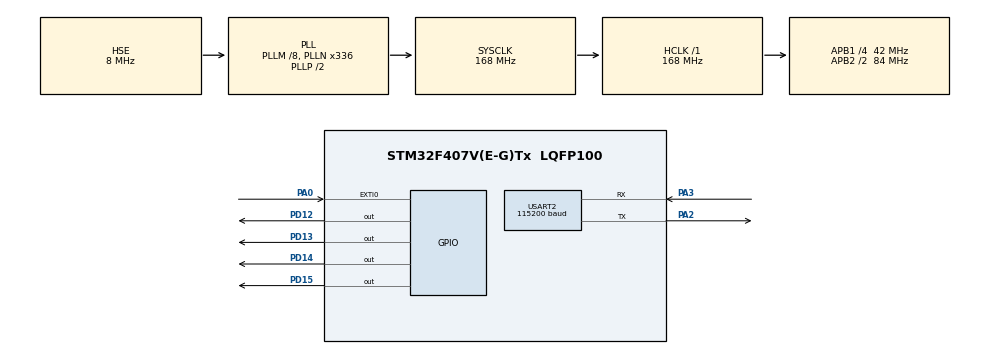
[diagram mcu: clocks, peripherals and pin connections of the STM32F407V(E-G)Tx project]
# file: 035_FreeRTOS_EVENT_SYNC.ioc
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FREERTOS.Tasks01=defaultTask,24,128,StartDefaultTask,Default,NULL,Dynamic,NULL,NULL
FREERTOS.configUSE_NEWLIB_REENTRANT=1
Mcu.Family=STM32F4
Mcu.Name=STM32F407V(E-G)Tx
Mcu.Package=LQFP100
NVIC.EXTI0_IRQn=true\:5\:0\:false\:false\:true\:true\:true\:true\:true
NVIC.PriorityGroup=NVIC_PRIORITYGROUP_4
NVIC.TIM8_TRG_COM_TIM14_IRQn=true\:15\:0\:false\:false\:true\:false\:false\:true\:true
NVIC.TimeBase=TIM8_TRG_COM_TIM14_IRQn
NVIC.TimeBaseIP=TIM14
NVIC.USART2_IRQn=true\:5\:0\:false\:false\:true\:true\:true\:true\:true
PA0-WKUP.Signal=GPXTI0
PA2.Mode=Asynchronous
PA2.Signal=USART2_TX
PA3.Mode=Asynchronous
PA3.Signal=USART2_RX
PD12.Signal=GPIO_Output
PD13.Signal=GPIO_Output
PD14.Signal=GPIO_Output
PD15.Signal=GPIO_Output
PH0-OSC_IN.Mode=HSE-External-Oscillator
PH0-OSC_IN.Signal=RCC_OSC_IN
PH1-OSC_OUT.Mode=HSE-External-Oscillator
PH1-OSC_OUT.Signal=RCC_OSC_OUT
ProjectManager.HeapSize=0x200
ProjectManager.StackSize=0x400
ProjectManager.TargetToolchain=STM32CubeIDE
RCC.48MHZClocksFreq_Value=48000000
RCC.AHBFreq_Value=168000000
RCC.APB1CLKDivider=RCC_HCLK_DIV4
RCC.APB1Freq_Value=42000000
RCC.APB1TimFreq_Value=84000000
RCC.APB2CLKDivider=RCC_HCLK_DIV2
RCC.APB2Freq_Value=84000000
RCC.APB2TimFreq_Value=168000000
RCC.CortexFreq_Value=168000000
RCC.HCLKFreq_Value=168000000
RCC.HSE_VALUE=8000000
RCC.HSI_VALUE=16000000
RCC.LSE_VALUE=32768
RCC.PLLM=8
RCC.PLLN=336
RCC.PLLQ=7
RCC.PLLSourceVirtual=RCC_PLLSOURCE_HSE
RCC.SYSCLKFreq_VALUE=168000000
RCC.SYSCLKSource=RCC_SYSCLKSOURCE_PLLCLK
RCC.VCOOutputFreq_Value=336000000
USART2.BaudRate=115200
USART2.VirtualMode=VM_ASYNC
VP_FREERTOS_VS_CMSIS_V2.Mode=CMSIS_V2
VP_SYS_VS_tim14.Mode=TIM14
board=STM32F407G-DISC1

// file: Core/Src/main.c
/* USER CODE BEGIN Header */
/**
  ******************************************************************************
  * @file           : main.c
  * @brief          : Main program body
  ******************************************************************************
  * @attention
  *
  * Copyright (c) 2023 STMicroelectronics.
  * All rights reserved.
  *
  * This software is licensed under terms that can be found in the LICENSE file
  * in the root directory of this software component.
  * If no LICENSE file comes with this software, it is provided AS-IS.
  *
  ******************************************************************************
  */
/* USER CODE END Header */
#include "main.h"

/* USER CODE BEGIN Includes */
#include "FreeRTOS.h"
#include "task.h"
#include "queue.h"
#include "event_groups.h"
#include <string.h>
#include <stdio.h>
#include <stdlib.h>
/* USER CODE END Includes */

/* USER CODE BEGIN PD */
#define mainFIRST_TASK_BIT		(( 1 << 0 ))
#define mainSECOND_TASK_BIT		(( 1 << 1 ))
#define mainTHIRD_TASK_BIT		(( 1 << 2 ))
/* USER CODE END PD */

UART_HandleTypeDef huart2;

/* Definitions for defaultTask */

/* USER CODE BEGIN PV */
EventGroupHandle_t xEventGroup = NULL;
static const char *taskName[] ={
		"Task 1",
		"Task 2",
		"Task 3",
};
/* USER CODE END PV */

void SystemClock_Config(void);
static void MX_GPIO_Init(void);
static void MX_USART2_UART_Init(void);

/* USER CODE BEGIN 0 */
static void vSyncingTask(void *pvParameters)
{
	const TickType_t xMaxDelay = pdMS_TO_TICKS(4000UL);
	const TickType_t xMinDelay = pdMS_TO_TICKS(2000UL);
	char outputBuffer[100];

	TickType_t xDelayTime;
	EventBits_t uxThisTasksSyncBit;
	//const EventBits_t uxAllSyncBits = (mainFIRST_TASK_BIT | mainSECOND_TASK_BIT | mainTHIRD_TASK_BIT);
	const EventBits_t uxAllSyncBits = 0x07;
	uint8_t taskIndex = 0;
	uxThisTasksSyncBit = (EventBits_t) pvParameters;

	if(uxThisTasksSyncBit == 0x01){taskIndex = 0;}
	if(uxThisTasksSyncBit == 0x02){taskIndex = 1;}
	if(uxThisTasksSyncBit == 0x04){taskIndex = 2;}
	EventBits_t uxReturn;
	for(;;)
	{
		xDelayTime = (rand() % xMaxDelay) + xMinDelay;

		sprintf(outputBuffer, "%s reached sync point!\r\n", taskName[taskIndex]);
		HAL_UART_Transmit(&huart2, (uint8_t *)outputBuffer, strlen(outputBuffer), HAL_MAX_DELAY);

		uxReturn = xEventGroupSync(xEventGroup, uxThisTasksSyncBit, uxAllSyncBits, portMAX_DELAY);
		if((uxThisTasksSyncBit == 0x01)&&((uxReturn & uxAllSyncBits) == uxAllSyncBits))
		{
			sprintf(outputBuffer, "%s exited sync point!\r\n", taskName[taskIndex]);
			HAL_UART_Transmit(&huart2, (uint8_t *)outputBuffer, strlen(outputBuffer), HAL_MAX_DELAY);
		}
		vTaskDelay(xDelayTime);
	}
}
/* USER CODE END 0 */

int main(void)
{

  /* MCU Configuration--------------------------------------------------------*/

  /* Reset of all peripherals, Initializes the Flash interface and the Systick. */
  HAL_Init();

  /* Configure the system clock */
  SystemClock_Config();

  /* Initialize all configured peripherals */
  MX_GPIO_Init();
  MX_USART2_UART_Init();
  /* USER CODE BEGIN 2 */
  xEventGroup = xEventGroupCreate();

  xTaskCreate(vSyncingTask, "Task 1", 1200, (void *)mainFIRST_TASK_BIT, 2, NULL);
  xTaskCreate(vSyncingTask, "Task 2", 1200, (void *)mainSECOND_TASK_BIT, 2, NULL);
  xTaskCreate(vSyncingTask, "Task 3", 1200, (void *)mainTHIRD_TASK_BIT, 2, NULL);

  vTaskStartScheduler();
  /* USER CODE END 2 */

  /* Init scheduler */

  /* Create the thread(s) */
  /* creation of defaultTask */

  /* Start scheduler */

  /* We should never get here as control is now taken by the scheduler */
  /* Infinite loop */
  while (1)
  {

  }
}

void SystemClock_Config(void)
{
  RCC_OscInitTypeDef RCC_OscInitStruct = {0};
  RCC_ClkInitTypeDef RCC_ClkInitStruct = {0};

  /** Configure the main internal regulator output voltage
  */
  __HAL_RCC_PWR_CLK_ENABLE();
  __HAL_PWR_VOLTAGESCALING_CONFIG(PWR_REGULATOR_VOLTAGE_SCALE1);

  /** Initializes the RCC Oscillators according to the specified parameters
  * in the RCC_OscInitTypeDef structure.
  */
  RCC_OscInitStruct.OscillatorType = RCC_OSCILLATORTYPE_HSE;
  RCC_OscInitStruct.HSEState = RCC_HSE_ON;
  RCC_OscInitStruct.PLL.PLLState = RCC_PLL_ON;
  RCC_OscInitStruct.PLL.PLLSource = RCC_PLLSOURCE_HSE;
  RCC_OscInitStruct.PLL.PLLM = 8;
  RCC_OscInitStruct.PLL.PLLN = 336;
  RCC_OscInitStruct.PLL.PLLP = RCC_PLLP_DIV2;
  RCC_OscInitStruct.PLL.PLLQ = 7;
  if (HAL_RCC_OscConfig(&RCC_OscInitStruct) != HAL_OK)
  {
    Error_Handler();
  }

  /** Initializes the CPU, AHB and APB buses clocks
  */
  RCC_ClkInitStruct.ClockType = RCC_CLOCKTYPE_HCLK|RCC_CLOCKTYPE_SYSCLK
                              |RCC_CLOCKTYPE_PCLK1|RCC_CLOCKTYPE_PCLK2;
  RCC_ClkInitStruct.SYSCLKSource = RCC_SYSCLKSOURCE_PLLCLK;
  RCC_ClkInitStruct.AHBCLKDivider = RCC_SYSCLK_DIV1;
  RCC_ClkInitStruct.APB1CLKDivider = RCC_HCLK_DIV4;
  RCC_ClkInitStruct.APB2CLKDivider = RCC_HCLK_DIV2;

  if (HAL_RCC_ClockConfig(&RCC_ClkInitStruct, FLASH_LATENCY_5) != HAL_OK)
  {
    Error_Handler();
  }
}

static void MX_USART2_UART_Init(void)
{

  huart2.Instance = USART2;
  huart2.Init.BaudRate = 115200;
  huart2.Init.WordLength = UART_WORDLENGTH_8B;
  huart2.Init.StopBits = UART_STOPBITS_1;
  huart2.Init.Parity = UART_PARITY_NONE;
  huart2.Init.Mode = UART_MODE_TX_RX;
  huart2.Init.HwFlowCtl = UART_HWCONTROL_NONE;
  huart2.Init.OverSampling = UART_OVERSAMPLING_16;
  if (HAL_UART_Init(&huart2) != HAL_OK)
  {
    Error_Handler();
  }

}

static void MX_GPIO_Init(void)
{
  GPIO_InitTypeDef GPIO_InitStruct = {0};

  /* GPIO Ports Clock Enable */
  __HAL_RCC_GPIOH_CLK_ENABLE();
  __HAL_RCC_GPIOA_CLK_ENABLE();
  __HAL_RCC_GPIOD_CLK_ENABLE();

  /*Configure GPIO pin Output Level */
  HAL_GPIO_WritePin(GPIOD, GPIO_PIN_12|GPIO_PIN_13|GPIO_PIN_14|GPIO_PIN_15, GPIO_PIN_RESET);

  /*Configure GPIO pin : PA0 */
  GPIO_InitStruct.Pin = GPIO_PIN_0;
  GPIO_InitStruct.Mode = GPIO_MODE_IT_RISING;
  GPIO_InitStruct.Pull = GPIO_NOPULL;
  HAL_GPIO_Init(GPIOA, &GPIO_InitStruct);

  /*Configure GPIO pins : PD12 PD13 PD14 PD15 */
  GPIO_InitStruct.Pin = GPIO_PIN_12|GPIO_PIN_13|GPIO_PIN_14|GPIO_PIN_15;
  GPIO_InitStruct.Mode = GPIO_MODE_OUTPUT_PP;
  GPIO_InitStruct.Pull = GPIO_NOPULL;
  GPIO_InitStruct.Speed = GPIO_SPEED_FREQ_LOW;
  HAL_GPIO_Init(GPIOD, &GPIO_InitStruct);

  /* EXTI interrupt init*/
  HAL_NVIC_SetPriority(EXTI0_IRQn, 5, 0);
  HAL_NVIC_EnableIRQ(EXTI0_IRQn);

}

void HAL_TIM_PeriodElapsedCallback(TIM_HandleTypeDef *htim)
{
  if (htim->Instance == TIM14) {
    HAL_IncTick();
  }
}

void Error_Handler(void)
{
  __disable_irq();
  while (1)
  {
  }
}
